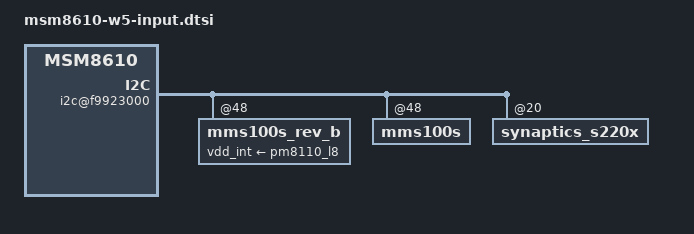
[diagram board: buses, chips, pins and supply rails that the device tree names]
/* Copyright (c) 2012, Code Aurora Forum. All rights reserved.
 *
 * This program is free software; you can redistribute it and/or modify
 * it under the terms of the GNU General Public License version 2 and
 * only version 2 as published by the Free Software Foundation.
 *
 * This program is distributed in the hope that it will be useful,
 * but WITHOUT ANY WARRANTY; without even the implied warranty of
 * MERCHANTABILITY or FITNESS FOR A PARTICULAR PURPOSE.  See the
 * GNU General Public License for more details.
 */

&soc {
	i2c@f9923000{
		mms100s_rev_b@48 {
			melfas,product = "I2S45B";
			melfas,max-x = <480>;
			melfas,max-y = <800>;
                        melfas,use_vdd_i2c = <1>;
			melfas,gpio-vdd-en = <62>;
			melfas,key-map = <158 139>;
			vdd_int-supply = <&pm8110_l8>;		
			melfas,fw-image-name = "melfas/w5_trf_us/w5_trf_us_rev_b_v101.mfsb";
			
			status = "ok";
			revision = "rev_b";
		};
		
		mms100s@48 {
			melfas,product = "I2S45B";
			melfas,max-x = <480>;
			melfas,max-y = <800>;
                        melfas,use_vdd_i2c = <1>;
			melfas,gpio-vdd-en = <82>;
			melfas,key-map = <158 139>;
			melfas,fw-image-name = "melfas/w5_trf_us/w5_trf_us_rev_b_v101.mfsb";	
			status = "ok";
			revision = "rev_a","rev_c";
		};

		
		synaptics_red@20 {
			status = "disable";
			revision = "rev_d...";
			synaptics,button-map = <158 139>;
			synaptics,gpio_vdd_en  = <82>;
		};
		
		synaptics_s220x@20 {
			status = "ok";
			revision = "rev_d...";
			synaptics,fw_version_info = <0x32 0x04 0x51>;
			lge,knock_on_type = <1>;
			synaptics,fw_image = "synaptics/w5_trf_us/PLG317-V1.14-PR1600582-DS4.3.5.1.16_3204518E.img";
			synaptics,panel_spec = "synaptics/w5_trf_us/w5_trf_us_limit.txt";
			synaptics,global_access_pixel = <10>;
			synaptics,platform_data	{
				/* maker_id disable(0), enable(1) */
				maker_id = <0>;
				number_of_button = <2>;
				button_name = [9e 8b];
				x_max = <960>;
				y_max = <1600>;
				lcd_x = <480>;
				lcd_y = <800>;
				gpio_vdd_en = <82>;
				use_vio_regulator = <1>;
				palm_detect_mode=<1>;
				ghost_detection_enable=<0>;
				ghost_detection_value = <200 5 4 6 5 5 10 500 100 6 5>;
			};
		};
	};
};
